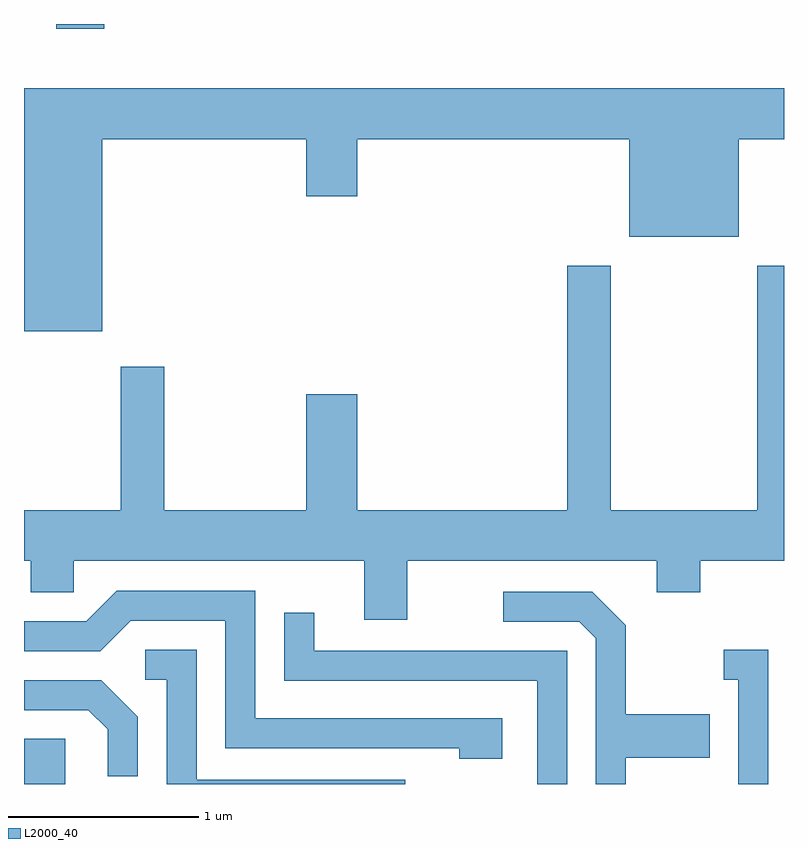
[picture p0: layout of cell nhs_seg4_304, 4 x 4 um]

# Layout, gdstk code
import gdstk
lib = gdstk.Library(unit=1e-6, precision=1e-09)
def R(c, l, rs):  # rectangles x0, y0, x1, y1
    for r in rs: c.add(gdstk.rectangle(r[:2], r[2:], *l))
def P(c, l, *ps):  # polygons
    for p in ps: c.add(gdstk.Polygon(p, *l))
L2000_40 = (2000, 40)

nhs_seg4_304 = lib.new_cell('nhs_seg4_304')
R(nhs_seg4_304, L2000_40, [(193.611,1317.982,193.829,1318.219), (193.781,1321.956,194.034,1321.982)])
P(nhs_seg4_304, L2000_40, [(194.024,1321.376),(195.096,1321.376),(195.096,1321.076),(195.364,1321.076),(195.364,1321.376),(196.796,1321.376),(196.796,1320.861),(197.374,1320.861),(197.374,1321.376),(197.611,1321.376),(197.611,1321.644),(193.611,1321.644),(193.611,1320.366),(194.024,1320.366)],
  [(195.629,1319.156),(196.941,1319.156),(196.941,1318.991),(197.169,1318.991),(197.169,1319.156),(197.611,1319.156),(197.611,1320.709),(197.471,1320.709),(197.471,1319.424),(196.699,1319.424),(196.699,1320.709),(196.471,1320.709),(196.471,1319.424),(195.364,1319.424),(195.364,1320.034),(195.096,1320.034),(195.096,1319.424),(194.349,1319.424),(194.349,1320.179),(194.121,1320.179),(194.121,1319.424),(193.611,1319.424),(193.611,1319.156),(193.646,1319.156),(193.646,1318.991),(193.874,1318.991),(193.874,1319.156),(195.401,1319.156),(195.401,1318.846),(195.629,1318.846)],
  [(196.129,1318.329),(194.829,1318.329),(194.829,1318.999),(194.099,1318.999),(193.939,1318.839),(193.611,1318.839),(193.611,1318.681),(194.012,1318.681),(194.172,1318.841),(194.671,1318.841),(194.671,1318.171),(195.901,1318.171),(195.901,1318.116),(196.129,1318.116)],
  [(196.779,1318.121),(197.219,1318.121),(197.219,1318.349),(196.779,1318.349),(196.779,1318.817),(196.602,1318.994),(196.133,1318.994),(196.133,1318.836),(196.534,1318.836),(196.621,1318.749),(196.621,1317.982),(196.779,1317.982)],
  [(196.469,1318.684),(195.139,1318.684),(195.139,1318.883),(194.981,1318.883),(194.981,1318.526),(196.311,1318.526),(196.311,1317.982),(196.469,1317.982)],
  [(197.529,1318.689),(197.293,1318.689),(197.293,1318.531),(197.371,1318.531),(197.371,1317.982),(197.529,1317.982)],
  [(195.618,1318.004),(194.519,1318.004),(194.519,1318.689),(194.248,1318.689),(194.248,1318.531),(194.361,1318.531),(194.361,1317.982),(195.618,1317.982)],
  [(194.209,1318.337),(194.017,1318.529),(193.611,1318.529),(193.611,1318.371),(193.949,1318.371),(194.051,1318.269),(194.051,1318.023),(194.209,1318.023)])

lib.write_gds('nhs_seg4_304.gds')
